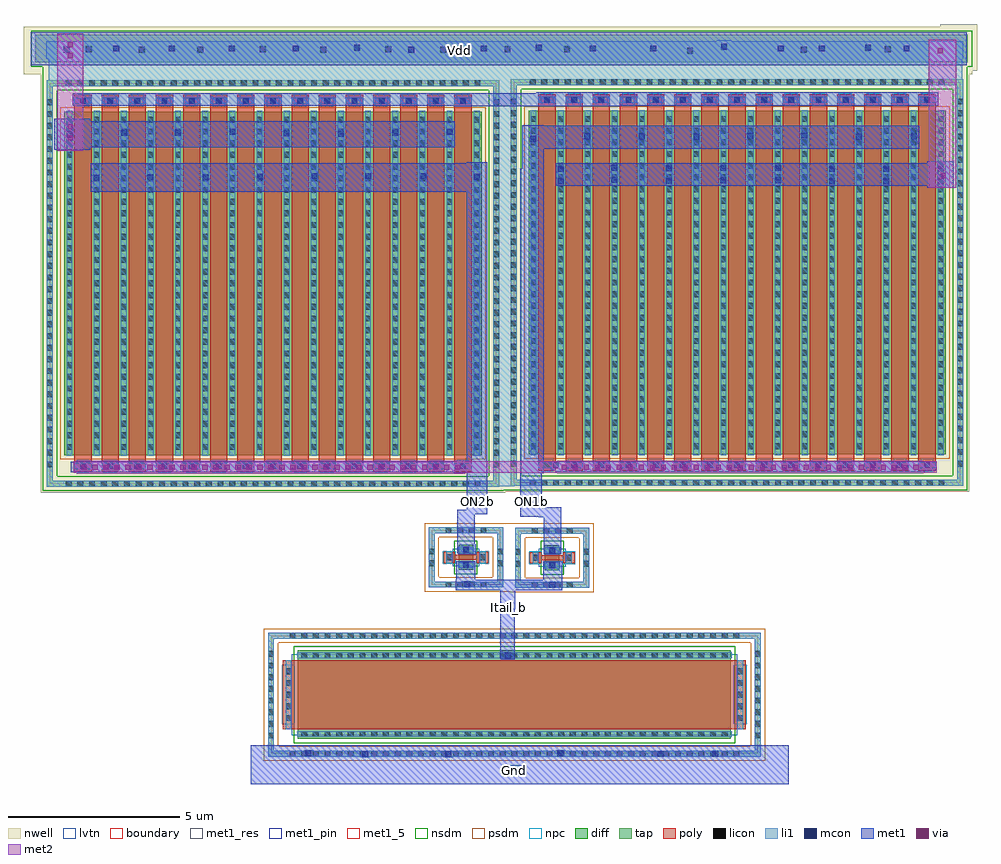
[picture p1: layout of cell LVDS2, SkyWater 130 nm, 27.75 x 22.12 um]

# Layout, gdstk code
from math import pi, radians
import gdstk
lib = gdstk.Library(unit=1e-6, precision=1e-09)
def R(c, l, rs):  # rectangles x0, y0, x1, y1
    for r in rs: c.add(gdstk.rectangle(r[:2], r[2:], *l))
def A(c, l, x, y, w, h, nx, ny, dx, dy):  # array of equal rectangles
    R(c, l, [(x+i*dx, y+j*dy, x+i*dx+w, y+j*dy+h) for i in range(nx) for j in range(ny)])
nwell = (64, 20)
diff = (65, 20)
tap = (65, 44)
poly = (66, 20)
licon = (66, 44)
li1 = (67, 20)
mcon = (67, 44)
met1_5 = (68, 5)
met1_res = (68, 13)
met1_pin = (68, 16)
met1 = (68, 20)
via = (68, 44)
met2 = (69, 20)
nsdm = (93, 44)
psdm = (94, 20)
npc = (95, 20)
lvtn = (125, 44)
boundary = (235, 4)

sky130_fd_pr__pfet_01v8_ = lib.new_cell('sky130_fd_pr__pfet_01v8_NC6LGM')
R(sky130_fd_pr__pfet_01v8_, nwell, [(-6.76,-6.095,6.76,6.095)])
R(sky130_fd_pr__pfet_01v8_, diff, [(-6.07,-5,6.07,5)])
R(sky130_fd_pr__pfet_01v8_, tap, [(-6.58,-5.915,6.58,-5.745), (-6.58,-5.745,-6.41,5.745), (6.41,-5.745,6.58,5.745), (-6.58,5.745,6.58,5.915)])
A(sky130_fd_pr__pfet_01v8_, poly, -5.78, -5.485, 0.5, 10.97, 15, 1, 0.79, 0)
A(sky130_fd_pr__pfet_01v8_, licon, -6.035, -5.915, 0.17, 0.17, 36, 2, 0.34, 11.66)
A(sky130_fd_pr__pfet_01v8_, licon, -5.615, -5.405, 0.17, 0.17, 15, 2, 0.79, 10.64)
A(sky130_fd_pr__pfet_01v8_, licon, -6.58, -5.355, 0.17, 0.17, 1, 32, 0, 0.34)
A(sky130_fd_pr__pfet_01v8_, licon, 6.41, -5.355, 0.17, 0.17, 1, 32, 0, 0.34)
A(sky130_fd_pr__pfet_01v8_, licon, -6.01, -4.845, 0.17, 0.17, 16, 29, 0.79, 0.34)
A(sky130_fd_pr__pfet_01v8_, li1, -5.78, -5.405, 0.5, 0.17, 15, 2, 0.79, 10.64)
A(sky130_fd_pr__pfet_01v8_, li1, -6.01, -5.02, 0.17, 10.04, 16, 1, 0.79, 0)
R(sky130_fd_pr__pfet_01v8_, li1, [(-6.58,-5.915,6.58,-5.745), (-6.58,-5.745,-6.41,5.745), (6.41,-5.745,6.58,5.745), (-6.58,5.745,6.58,5.915)])
R(sky130_fd_pr__pfet_01v8_, nsdm, [(-6.705,-6.04,6.705,-5.62), (-6.705,-5.62,-6.285,5.62), (6.285,-5.62,6.705,5.62), (-6.705,5.62,6.705,6.04)])
R(sky130_fd_pr__pfet_01v8_, psdm, [(-6.195,-5.125,6.195,5.125)])
A(sky130_fd_pr__pfet_01v8_, npc, -5.715, -5.505, 0.37, 0.37, 15, 2, 0.79, 10.64)
R(sky130_fd_pr__pfet_01v8_, boundary, [(-6.495,-5.83,6.495,5.83)])

sky130_fd_pr__nfet_01v8_ = lib.new_cell('sky130_fd_pr__nfet_01v8_lvt_D42ZUM')
R(sky130_fd_pr__nfet_01v8_, diff, [(-0.365,-0.21,0.365,0.21)])
R(sky130_fd_pr__nfet_01v8_, tap, [(-0.875,-1.08,0.875,-0.91), (-0.875,-0.91,-0.705,0.91), (0.705,-0.91,0.875,0.91), (-0.875,0.91,0.875,1.08)])
R(sky130_fd_pr__nfet_01v8_, poly, [(-0.165,-0.65,0.165,-0.32), (-0.075,-0.32,0.075,0.32), (-0.165,0.32,0.165,0.65)])
A(sky130_fd_pr__nfet_01v8_, licon, -0.875, -0.595, 0.17, 0.17, 1, 4, 0, 0.34)
A(sky130_fd_pr__nfet_01v8_, licon, 0.705, -0.595, 0.17, 0.17, 1, 4, 0, 0.34)
R(sky130_fd_pr__nfet_01v8_, licon, [(-0.255,-1.08,-0.085,-0.91), (0.085,-1.08,0.255,-0.91), (-0.085,-0.57,0.085,-0.4), (-0.305,-0.085,-0.135,0.085), (0.135,-0.085,0.305,0.085), (-0.085,0.4,0.085,0.57), (-0.255,0.91,-0.085,1.08), (0.085,0.91,0.255,1.08)])
R(sky130_fd_pr__nfet_01v8_, li1, [(-0.875,-1.08,0.875,-0.91), (-0.875,-0.91,-0.705,0.91), (0.705,-0.91,0.875,0.91), (-0.165,-0.57,0.165,-0.4), (-0.305,-0.23,-0.135,0.23), (0.135,-0.23,0.305,0.23), (-0.165,0.4,0.165,0.57), (-0.875,0.91,0.875,1.08)])
R(sky130_fd_pr__nfet_01v8_, nsdm, [(-0.49,-0.335,0.49,0.335)])
R(sky130_fd_pr__nfet_01v8_, psdm, [(-1,-1.205,1,-0.785), (-1,-0.785,-0.58,0.785), (0.58,-0.785,1,0.785), (-1,0.785,1,1.205)])
R(sky130_fd_pr__nfet_01v8_, npc, [(-0.185,-0.67,0.185,-0.3), (-0.185,0.3,0.185,0.67)])
R(sky130_fd_pr__nfet_01v8_, lvtn, [(-0.255,-0.39,0.255,0.39)])
R(sky130_fd_pr__nfet_01v8_, boundary, [(-0.79,-0.995,0.79,0.995)])

c_sky130_fd_pr__nfet_01v8_ = lib.new_cell('sky130_fd_pr__nfet_01v8_lvt_69NU8X')
R(c_sky130_fd_pr__nfet_01v8_, diff, [(-1.29,-6.3,1.29,6.3)])
R(c_sky130_fd_pr__nfet_01v8_, tap, [(-1.8,-7.17,1.8,-7), (-1.8,-7,-1.63,7), (1.63,-7,1.8,7), (-1.8,7,1.8,7.17)])
R(c_sky130_fd_pr__nfet_01v8_, poly, [(-1,-6.74,1,6.74)])
A(c_sky130_fd_pr__nfet_01v8_, licon, -1.275, -7.17, 0.17, 0.17, 8, 2, 0.34, 14.17)
A(c_sky130_fd_pr__nfet_01v8_, licon, -0.765, -6.66, 0.17, 0.17, 5, 2, 0.34, 13.15)
A(c_sky130_fd_pr__nfet_01v8_, licon, -1.8, -6.545, 0.17, 0.17, 1, 39, 0, 0.34)
A(c_sky130_fd_pr__nfet_01v8_, licon, 1.63, -6.545, 0.17, 0.17, 1, 39, 0, 0.34)
A(c_sky130_fd_pr__nfet_01v8_, licon, -1.23, -6.205, 0.17, 0.17, 1, 37, 0, 0.34)
A(c_sky130_fd_pr__nfet_01v8_, licon, 1.06, -6.205, 0.17, 0.17, 1, 37, 0, 0.34)
R(c_sky130_fd_pr__nfet_01v8_, li1, [(-1.8,-7.17,1.8,-7), (-1.8,-7,-1.63,7), (1.63,-7,1.8,7), (-1,-6.66,1,-6.49), (-1.23,-6.32,-1.06,6.32), (1.06,-6.32,1.23,6.32), (-1,6.49,1,6.66), (-1.8,7,1.8,7.17)])
R(c_sky130_fd_pr__nfet_01v8_, nsdm, [(-1.415,-6.425,1.415,6.425)])
R(c_sky130_fd_pr__nfet_01v8_, psdm, [(-1.925,-7.295,1.925,-6.875), (-1.925,-6.875,-1.505,6.875), (1.505,-6.875,1.925,6.875), (-1.925,6.875,1.925,7.295)])
R(c_sky130_fd_pr__nfet_01v8_, npc, [(-0.865,-6.76,0.865,-6.39), (-0.865,6.39,0.865,6.76)])
R(c_sky130_fd_pr__nfet_01v8_, lvtn, [(-1.18,-6.48,1.18,6.48)])
R(c_sky130_fd_pr__nfet_01v8_, boundary, [(-1.71,-7.08,1.71,7.08)])

lvds2 = lib.new_cell('LVDS2')
R(lvds2, nwell, [(-0.76,11.92,26.85,12.02), (-0.76,12.02,26.99,13.3), (25.92,13.3,26.99,13.38)])
R(lvds2, tap, [(-0.42,12.26,26.72,13.06)])
R(lvds2, licon, [(18.545,12.515,18.715,12.685), (2.585,12.545,2.755,12.715), (4.295,12.545,4.465,12.715), (7.875,12.545,8.045,12.715), (11.365,12.545,11.535,12.715), (21.855,12.545,22.025,12.715), (1.045,12.565,1.215,12.735), (6.115,12.565,6.285,12.735), (9.765,12.565,9.935,12.735), (13.235,12.565,13.405,12.735), (14.965,12.565,15.135,12.735), (24.305,12.565,24.475,12.735)])
A(lvds2, li1, 0.88, 0.425, 0.17, 0.17, 14, 1, 0.79, 0)
A(lvds2, li1, 15.175, 0.45, 0.17, 0.17, 14, 1, 0.79, 0)
A(lvds2, li1, 22.68, 8.71, 0.17, 0.54, 3, 1, 1.58, 0)
A(lvds2, li1, 0.795, 11.065, 0.34, 0.17, 15, 1, 0.79, 0)
A(lvds2, li1, 14.3, 11.09, 0.34, 0.17, 15, 1, 0.79, 0)
R(lvds2, li1, [(9.05,-7.96,9.31,-7.79), (11.46,-7.96,11.72,-7.79), (17.65,-7.95,17.91,-7.78), (19.24,-7.94,19.5,-7.77), (7.39,-7.93,7.65,-7.76), (14.72,-7.93,14.98,-7.76), (13.21,-5.08,13.44,-4.91), (14.46,-3.03,14.79,-2.86), (11.98,-3.01,12.31,-2.84), (14.47,-2.46,14.77,-2.29), (11.96,-2.45,12.26,-2.28), (14.47,-2.02,14.77,-1.85), (11.96,-2.01,12.26,-1.84), (12.92,-0.08,13.515,11.695), (11.855,0.425,12.195,0.595), (14.645,0.45,14.815,0.62), (14.78,8.71,14.95,9.25), (1.26,8.73,1.45,9.08), (17.93,8.73,18.1,9.27), (4.44,8.74,4.63,9.09), (19.51,8.74,19.68,9.28), (21.11,8.74,21.28,9.28), (2.83,8.75,3.02,9.1), (16.34,8.75,16.51,9.29), (6.02,8.76,6.21,9.11), (12.33,8.76,12.52,9.11), (7.61,8.78,7.8,9.13), (9.17,8.78,9.36,9.13), (10.78,8.78,10.97,9.13), (13.98,9.79,14.16,10.3), (18.73,9.84,18.91,10.35), (23.45,9.84,23.63,10.35), (15.55,9.86,15.73,10.37), (17.14,9.86,17.32,10.37), (25.06,9.86,25.24,10.37), (20.29,9.87,20.47,10.38), (21.87,9.88,22.05,10.39), (0.49,10,0.68,10.35), (8.38,10.01,8.57,10.36), (16.35,10.02,16.52,10.44), (6.79,10.03,6.98,10.38), (2.07,10.04,2.26,10.39), (3.63,10.04,3.82,10.39), (9.96,10.04,10.15,10.39), (11.54,10.06,11.73,10.41), (17.93,10.06,18.1,10.48), (5.22,10.07,5.41,10.42), (19.51,10.08,19.68,10.5), (6.02,11.57,6.32,11.695), (18.73,11.61,19.03,11.695), (-0.04,11.695,26.555,12.37), (-0.1,12.37,26.58,12.88), (19.41,12.88,19.83,12.9)])
A(lvds2, mcon, 0.88, 0.425, 0.17, 0.17, 15, 2, 0.79, 10.64)
A(lvds2, mcon, 15.175, 0.45, 0.17, 0.17, 14, 1, 0.79, 0)
A(lvds2, mcon, 22.68, 8.715, 0.17, 0.17, 3, 2, 1.58, 0.36)
A(lvds2, mcon, 14.385, 11.09, 0.17, 0.17, 15, 1, 0.79, 0)
R(lvds2, mcon, [(9.095,-7.96,9.265,-7.79), (11.505,-7.96,11.675,-7.79), (17.695,-7.95,17.865,-7.78), (19.285,-7.94,19.455,-7.77), (7.435,-7.93,7.605,-7.76), (14.765,-7.93,14.935,-7.76), (13.24,-5.08,13.41,-4.91), (14.54,-3.03,14.71,-2.86), (12.06,-3.01,12.23,-2.84), (14.535,-2.46,14.705,-2.29), (12.025,-2.45,12.195,-2.28), (14.535,-2.02,14.705,-1.85), (12.025,-2.01,12.195,-1.84), (14.645,0.45,14.815,0.62), (14.78,8.715,14.95,8.885), (17.93,8.735,18.1,8.905), (19.51,8.745,19.68,8.915), (21.11,8.745,21.28,8.915), (16.34,8.755,16.51,8.925), (1.27,8.82,1.44,8.99), (4.45,8.83,4.62,9), (2.84,8.84,3.01,9.01), (6.03,8.85,6.2,9.02), (12.34,8.85,12.51,9.02), (7.62,8.87,7.79,9.04), (9.18,8.87,9.35,9.04), (10.79,8.87,10.96,9.04), (14.78,9.075,14.95,9.245), (17.93,9.095,18.1,9.265), (19.51,9.105,19.68,9.275), (21.11,9.105,21.28,9.275), (16.34,9.115,16.51,9.285), (13.985,9.96,14.155,10.13), (18.735,10.01,18.905,10.18), (23.455,10.01,23.625,10.18), (15.555,10.03,15.725,10.2), (17.145,10.03,17.315,10.2), (25.065,10.03,25.235,10.2), (20.295,10.04,20.465,10.21), (21.875,10.05,22.045,10.22), (0.5,10.09,0.67,10.26), (8.39,10.1,8.56,10.27), (6.8,10.12,6.97,10.29), (2.08,10.13,2.25,10.3), (3.64,10.13,3.81,10.3), (9.97,10.13,10.14,10.3), (11.55,10.15,11.72,10.32), (5.23,10.16,5.4,10.33), (0.405,12.55,0.575,12.72), (10.435,12.55,10.605,12.72), (1.845,12.58,2.015,12.75), (3.465,12.58,3.635,12.75), (5.205,12.58,5.375,12.75), (7.075,12.58,7.245,12.75), (12.545,12.58,12.715,12.75), (15.715,12.58,15.885,12.75), (17.475,12.58,17.645,12.75), (21.185,12.58,21.355,12.75), (22.385,12.58,22.555,12.75), (24.845,12.58,25.015,12.75), (8.855,12.6,9.025,12.77), (14.145,12.6,14.315,12.77), (23.725,12.6,23.895,12.77), (19.535,12.63,19.705,12.8)])
R(lvds2, met1_5, [(13.26,-3.72,13.42,-3.5)])
R(lvds2, met1_res, [(1.17,9.8,11.78,9.81)])
R(lvds2, met1_pin, [(13.32,-8.47,13.75,-8.2), (12.3,-0.67,12.58,-0.39), (13.89,-0.66,14.17,-0.38), (11.78,12.47,12.06,12.75)])
R(lvds2, met1, [(5.85,-8.74,21.5,-7.61), (13.13,-5.11,13.53,-5.09), (13.11,-5.09,13.53,-3.64), (13.11,-3.64,13.54,-3.1), (11.81,-3.1,14.91,-2.79), (11.83,-2.79,12.38,-2.25), (14.36,-2.79,14.91,-2.26), (11.89,-2.05,12.39,-2.03), (14.37,-2.05,14.88,-0.98), (11.86,-2.03,12.39,-1.76), (11.86,-1.76,12.37,-0.89), (14.23,-0.98,14.88,-0.96), (13.69,-0.96,14.88,-0.68), (11.86,-0.89,12.73,-0.76), (12.13,-0.76,12.73,0.32), (13.69,-0.68,14.31,0.31), (13.69,0.31,14.37,9.16), (11.76,0.32,12.73,0.34), (0.605,0.34,12.73,0.645), (14.715,0.35,25.465,0.39), (14.58,0.39,25.815,0.655), (11.76,0.645,12.73,0.67), (12.13,0.67,12.73,8.5), (1.19,8.5,12.73,9.32), (25.54,8.62,26.3,8.67), (14.72,8.67,26.3,9.32), (13.75,9.16,14.37,9.75), (12.13,9.32,12.73,9.35), (25.54,9.32,26.3,9.39), (0.13,9.72,1.17,9.8), (13.75,9.75,25.31,10.42), (0.13,9.8,11.78,10.55), (13.75,10.42,14.37,10.43), (0.13,10.55,1.17,10.62), (11.75,10.98,16.6,11), (0.66,11,25.85,11.37), (14.15,11.37,25.85,11.39), (-0.55,12.18,26.69,13.14)])
A(lvds2, via, 0.92, 0.405, 0.15, 0.15, 35, 1, 0.32, 0)
A(lvds2, via, 14.895, 0.405, 0.15, 0.15, 33, 1, 0.32, 0)
R(lvds2, via, [(25.93,8.895,26.08,9.045), (0.52,9.99,0.67,10.14), (0.52,10.31,0.67,10.46), (0.52,12.39,0.67,12.54), (25.84,12.525,25.99,12.675), (0.52,12.71,0.67,12.86)])
R(lvds2, met2, [(0.78,0.295,12.095,0.32), (14.765,0.3,25.415,0.32), (0.69,0.32,25.815,0.655), (0.78,0.655,12.095,0.67), (14.765,0.655,25.415,0.665), (25.58,8.62,26.38,12.92), (0.22,9.69,0.97,13.09)])
R(lvds2, nsdm, [(13.2,-0.185,13.295,11.87), (-0.21,11.87,13.295,11.895), (-0.21,11.895,26.705,12.135), (-0.545,12.135,26.845,13.185)])
R(lvds2, psdm, [(13.315,-3.145,13.415,-1.155)])
lvds2.add(gdstk.Reference(sky130_fd_pr__pfet_01v8_, (20,5.855)))
lvds2.add(gdstk.Reference(sky130_fd_pr__pfet_01v8_, (6.495,5.83)))
lvds2.add(gdstk.Reference(sky130_fd_pr__nfet_01v8_, (12.11,-2.145), rotation=3*pi/2))
lvds2.add(gdstk.Reference(sky130_fd_pr__nfet_01v8_, (14.62,-2.155), rotation=3*pi/2))
lvds2.add(gdstk.Reference(c_sky130_fd_pr__nfet_01v8_, (13.52,-6.14), rotation=3*pi/2))
lvds2.add(gdstk.Label('Itail_b', (13.34,-3.61), layer=68, texttype=5))
lvds2.add(gdstk.Label('Vdd', (11.92,12.61), layer=68, texttype=5))
lvds2.add(gdstk.Label('ON2b', (12.44,-0.53), layer=68, texttype=5))
lvds2.add(gdstk.Label('ON1b', (14.03,-0.52), layer=68, texttype=5))
lvds2.add(gdstk.Label('Gnd', (13.535,-8.335), layer=68, texttype=5))

lib.write_gds('LVDS2.gds')
